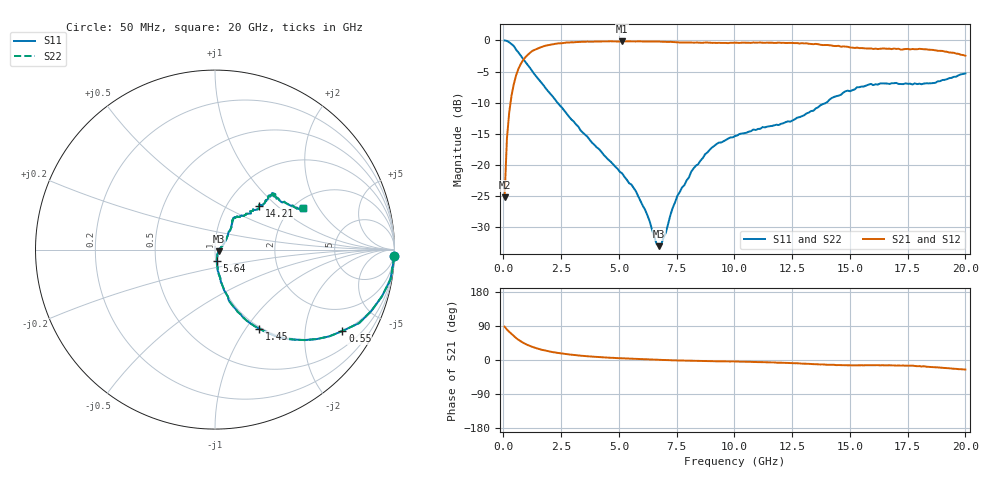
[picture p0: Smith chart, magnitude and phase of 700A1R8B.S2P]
!  American Technical Ceramics  Date:  3/13/98
!  One Norden Lane
!  Huntington Station,  NY.  11746-2102
!  Tel:  (516) 547-5700  Fax:  (516) 547-5748
!  Part Number  700A1R8B
!  Description: Porcelain, High Q, Low ESR
!  Application: Bypass, Coupling, Timing, Feedback
!  Tuning, Impedance Match, Blocking
# GHZ S DB R 50
! Freq  |S11|  S11 Ph  |S21|  S21 Ph  |S12|  S12 Ph  |S22|  S22 Ph
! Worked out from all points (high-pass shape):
!   201 points, 50 MHz to 20 GHz, reference 50 ohm
!   highest |S21| = -0.12 dB at 5.14 GHz (marker M1); lowest = -25.2 dB at 50 MHz (marker M2)
!   |S21| within 3 dB of the highest: 858.7 MHz to end of sweep
!   lowest |S11| = -33.0 dB at 6.73 GHz (marker M3), VSWR 1.05, Z = 52 - j1.07 ohm
!   |S11| at or under -10 dB: 2.342 GHz to 13.97 GHz (11.63 GHz wide, 143 % of centre)
!   |S22| runs from -33.0 to 0.0 dB; largest |S21 - S12| = 0
!   S11 on the Smith chart (normalised r, x): 50 MHz: -0, -53; 550 MHz: 1.00, -3.13; 1.45 GHz: 0.98, -1.16; 5.64 GHz: 1.01, -0.13; 14.21 GHz: 1.40, +0.77; 20 GHz: 2.25, +1.49
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0.05  0.00 -2.2  -25.17 87.9  -25.17 87.9  0.00 -2.2
0.15  -0.07 -9.6  -15.77 80.5  -15.77 80.5  -0.07 -9.6
0.25  -0.30 -15.6  -11.52 74.4  -11.52 74.4  -0.30 -15.6
0.55  -1.49 -32.5  -5.57 57.8  -5.57 57.8  -1.49 -32.5
0.95  -3.46 -48.4  -2.70 42.5  -2.70 42.5  -3.46 -48.4
1.45  -5.91 -60.7  -1.35 30.7  -1.35 30.7  -5.91 -60.7
2.34  -9.99 -73.2  -0.48 18.8  -0.48 18.8  -9.99 -73.2
3.44  -14.81 -79.9  -0.21 11.0  -0.21 11.0  -14.81 -79.9
5.14  -21.34 -81.8  -0.12 4.4  -0.12 4.4  -21.34 -81.8
5.64  -23.70 -79.8  -0.15 3.1  -0.15 3.1  -23.70 -79.8
6.73  -33.03 -27.5  -0.18 0.5  -0.18 0.5  -33.03 -27.5
7.03  -30.88 9.4  -0.22 -0.1  -0.22 -0.1  -30.88 9.4
7.53  -24.94 31.4  -0.30 -1.1  -0.30 -1.1  -24.94 31.4
8.13  -21.06 43.0  -0.32 -1.8  -0.32 -1.8  -21.06 43.0
9.03  -17.19 52.0  -0.39 -3.5  -0.39 -3.5  -17.19 52.0
10.03  -15.35 56.4  -0.36 -4.1  -0.36 -4.1  -15.35 56.4
13.42  -11.28 47.1  -0.60 -10.9  -0.60 -10.9  -11.28 47.1
14.21  -9.25 44.9  -0.81 -12.5  -0.81 -12.5  -9.25 44.9
15.31  -7.51 45.1  -1.15 -14.0  -1.15 -14.0  -7.51 45.1
16.71  -6.99 43.4  -1.32 -13.8  -1.32 -13.8  -6.99 43.4
18.1  -7.03 39.7  -1.38 -17.1  -1.38 -17.1  -7.03 39.7
20  -5.29 25.4  -2.45 -25.3  -2.45 -25.3  -5.29 25.4
